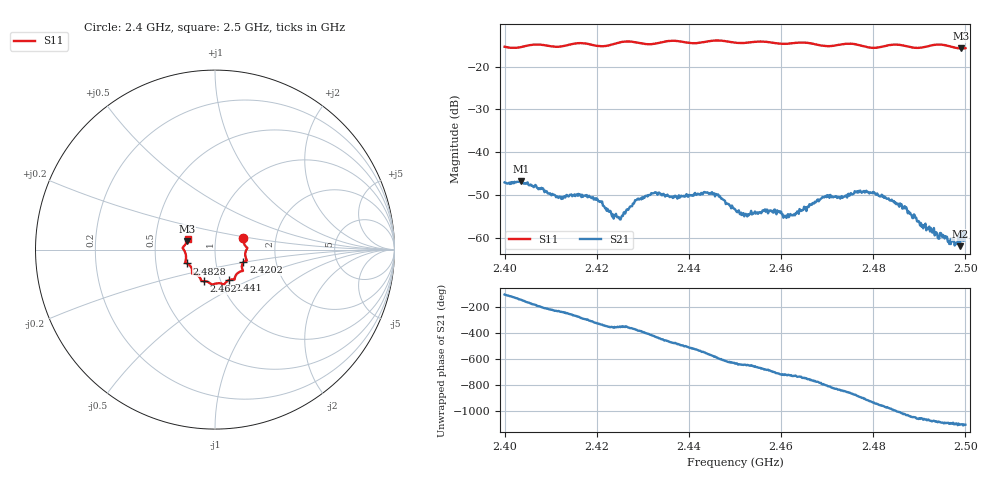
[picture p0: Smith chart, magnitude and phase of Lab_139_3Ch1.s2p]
# Hz S RI R 50
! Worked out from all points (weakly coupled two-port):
!   601 points, 2.4 GHz to 2.5 GHz, reference 50 ohm
!   highest |S21| = -46.70 dB at 2.4035 GHz (marker M1); lowest = -61.9 dB at 2.4988 GHz (marker M2)
!   lowest |S11| = -15.8 dB at 2.499 GHz (marker M3), VSWR 1.39, Z = 36.4 + j3.49 ohm
!   |S11| at or under -10 dB: start of sweep to end of sweep
!   S12 and S22 are empty: the file has one direction only
!   S11 on the Smith chart (normalised r, x): 2.4 GHz: 1.36, +0.18; 2.4202 GHz: 1.36, -0.20; 2.441 GHz: 1.10, -0.39; 2.462 GHz: 0.84, -0.30; 2.4828 GHz: 0.72, -0.11; 2.5 GHz: 0.73, +0.09
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2.4e9  0.1583 0.0625  -0.00137 -0.00425  0 0  0 0
2.4035e9  0.1665 0.0237  -0.00388 -0.00252  0 0  0 0
2.411833e9  0.1683 -0.0263  -0.0017 0.00249  0 0  0 0
2.416667e9  0.1775 -0.0605  0.000925 0.00287  0 0  0 0
2.420167e9  0.1583 -0.0712  0.00247 0.00139  0 0  0 0
2.424833e9  0.1538 -0.1125  0.00175 9.12e-05  0 0  0 0
2.428833e9  0.1469 -0.1207  0.00263 -0.00113  0 0  0 0
2.433333e9  0.1121 -0.1509  0.000642 -0.00325  0 0  0 0
2.441e9  0.0785 -0.1698  -0.00301 -0.000843  0 0  0 0
2.445833e9  0.0506 -0.1949  -0.00223 0.00241  0 0  0 0
2.45e9  0.0284 -0.1878  0.000297 0.00216  0 0  0 0
2.4525e9  0.00354 -0.1893  0.000659 0.00176  0 0  0 0
2.462e9  -0.0601 -0.176  0.0019 -0.000255  0 0  0 0
2.466667e9  -0.0786 -0.1681  0.00171 -0.00176  0 0  0 0
2.476833e9  -0.127 -0.1255  -0.00351 -0.000582  0 0  0 0
2.482833e9  -0.1572 -0.0769  -0.000779 0.0028  0 0  0 0
2.483333e9  -0.1605 -0.0754  -0.000596 0.00285  0 0  0 0
2.493833e9  -0.1801 0.00834  0.00114 -7.75e-05  0 0  0 0
2.497833e9  -0.1625 0.0321  0.000789 -0.000337  0 0  0 0
2.498833e9  -0.1565 0.0441  0.000723 -0.00036  0 0  0 0
2.499e9  -0.1555 0.0466  0.00106 -0.000465  0 0  0 0
2.5e9  -0.1523 0.0607  0.00106 -0.000528  0 0  0 0
